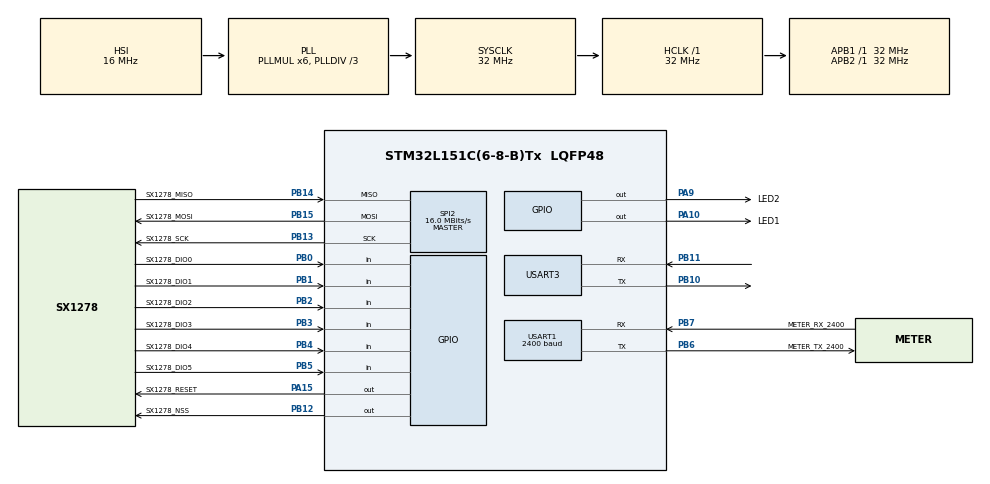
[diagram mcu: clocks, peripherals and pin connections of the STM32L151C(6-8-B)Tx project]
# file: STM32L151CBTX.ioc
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Dma.Request0=USART1_RX
Dma.Request1=USART3_RX
Dma.USART1_RX.0.Direction=DMA_PERIPH_TO_MEMORY
Dma.USART1_RX.0.Instance=DMA1_Channel5
Dma.USART1_RX.0.MemDataAlignment=DMA_MDATAALIGN_BYTE
Dma.USART1_RX.0.MemInc=DMA_MINC_ENABLE
Dma.USART1_RX.0.Mode=DMA_NORMAL
Dma.USART1_RX.0.PeriphDataAlignment=DMA_PDATAALIGN_BYTE
Dma.USART1_RX.0.PeriphInc=DMA_PINC_DISABLE
Dma.USART1_RX.0.Priority=DMA_PRIORITY_LOW
Dma.USART3_RX.1.Direction=DMA_PERIPH_TO_MEMORY
Dma.USART3_RX.1.Instance=DMA1_Channel3
Dma.USART3_RX.1.MemDataAlignment=DMA_MDATAALIGN_BYTE
Dma.USART3_RX.1.MemInc=DMA_MINC_ENABLE
Dma.USART3_RX.1.Mode=DMA_NORMAL
Dma.USART3_RX.1.PeriphDataAlignment=DMA_PDATAALIGN_BYTE
Dma.USART3_RX.1.PeriphInc=DMA_PINC_DISABLE
Dma.USART3_RX.1.Priority=DMA_PRIORITY_LOW
Mcu.Family=STM32L1
Mcu.Name=STM32L151C(6-8-B)Tx
Mcu.Package=LQFP48
NVIC.DMA1_Channel3_IRQn=true\:6\:0\:true\:false\:true
NVIC.DMA1_Channel5_IRQn=true\:5\:0\:true\:false\:true
NVIC.PriorityGroup=NVIC_PRIORITYGROUP_4
NVIC.USART1_IRQn=true\:8\:0\:true\:false\:true
NVIC.USART3_IRQn=true\:7\:0\:true\:false\:true
PA10.GPIO_Label=LED1
PA10.GPIO_PuPd=GPIO_PULLDOWN
PA10.Signal=GPIO_Output
PA13.Mode=Serial_Wire
PA13.Signal=SYS_JTMS-SWDIO
PA14.Mode=Serial_Wire
PA14.Signal=SYS_JTCK-SWCLK
PA15.GPIO_Label=SX1278_RESET
PA15.GPIO_PuPd=GPIO_PULLUP
PA15.PinState=GPIO_PIN_SET
PA15.Signal=GPIO_Output
PA9.GPIO_Label=LED2
PA9.GPIO_PuPd=GPIO_PULLDOWN
PA9.Signal=GPIO_Output
PB0.GPIO_Label=SX1278_DIO0
PB0.GPIO_PuPd=GPIO_PULLDOWN
PB0.Signal=GPIO_Input
PB1.GPIO_Label=SX1278_DIO1
PB1.GPIO_PuPd=GPIO_PULLDOWN
PB1.Signal=GPIO_Input
PB10.Mode=Asynchronous
PB10.Signal=USART3_TX
PB11.Mode=Asynchronous
PB11.Signal=USART3_RX
PB12.GPIO_Label=SX1278_NSS
PB12.GPIO_PuPd=GPIO_PULLUP
PB12.PinState=GPIO_PIN_SET
PB12.Signal=GPIO_Output
PB13.GPIO_Label=SX1278_SCK
PB13.Mode=Full_Duplex_Master
PB13.Signal=SPI2_SCK
PB14.GPIO_Label=SX1278_MISO
PB14.Mode=Full_Duplex_Master
PB14.Signal=SPI2_MISO
PB15.GPIO_Label=SX1278_MOSI
PB15.Mode=Full_Duplex_Master
PB15.Signal=SPI2_MOSI
PB2.GPIO_Label=SX1278_DIO2
PB2.GPIO_PuPd=GPIO_PULLDOWN
PB2.Signal=GPIO_Input
PB3.GPIO_Label=SX1278_DIO3
PB3.GPIO_PuPd=GPIO_PULLDOWN
PB3.Signal=GPIO_Input
PB4.GPIO_Label=SX1278_DIO4
PB4.GPIO_PuPd=GPIO_PULLDOWN
PB4.Signal=GPIO_Input
PB5.GPIO_Label=SX1278_DIO5
PB5.GPIO_PuPd=GPIO_PULLDOWN
PB5.Signal=GPIO_Input
PB6.GPIO_Label=METER_TX_2400
PB6.Mode=Asynchronous
PB6.Signal=USART1_TX
PB7.GPIO_Label=METER_RX_2400
PB7.Mode=Asynchronous
PB7.Signal=USART1_RX
PC14-OSC32_IN.Mode=LSE-External-Oscillator
PC14-OSC32_IN.Signal=RCC_OSC32_IN
PC15-OSC32_OUT.Mode=LSE-External-Oscillator
PC15-OSC32_OUT.Signal=RCC_OSC32_OUT
ProjectManager.HeapSize=0x200
ProjectManager.StackSize=0x400
ProjectManager.TargetToolchain=MDK-ARM V5
RCC.AHBFreq_Value=32000000
RCC.APB1Freq_Value=32000000
RCC.APB1TimFreq_Value=32000000
RCC.APB2Freq_Value=32000000
RCC.APB2TimFreq_Value=32000000
RCC.HCLKFreq_Value=32000000
RCC.HSE_VALUE=8000000
RCC.HSI_VALUE=16000000
RCC.MSI_VALUE=2097000
RCC.PLLDIV=RCC_PLL_DIV3
RCC.PLLMUL=RCC_PLL_MUL6
RCC.RTCClockSelectionVirtual=RCC_RTCCLKSOURCE_LSE
RCC.SYSCLKFreq_VALUE=32000000
RCC.SYSCLKSource=RCC_SYSCLKSOURCE_PLLCLK
RCC.USBOutput=48000000
RCC.VCOOutputFreq_Value=96000000
RTC.Date=3
RTC.Hours=17
RTC.Minutes=20
RTC.Month=RTC_MONTH_NOVEMBER
RTC.Seconds=12
RTC.WakeUpClock-WakeUp=RTC_WAKEUPCLOCK_CK_SPRE_16BITS
RTC.Year=17
SPI2.BaudRatePrescaler=SPI_BAUDRATEPRESCALER_2
SPI2.CalculateBaudRate=16.0 MBits/s
SPI2.Mode=SPI_MODE_MASTER
USART1.BaudRate=2400
USART1.Parity=PARITY_EVEN
USART1.WordLength=UART_WORDLENGTH_9B
VP_RTC_VS_RTC_Activate.Mode=RTC_Enabled
VP_RTC_VS_RTC_Calendar.Mode=RTC_Calendar
VP_RTC_VS_RTC_WakeUp_intern.Mode=WakeUp
board=STM32L151CBTX

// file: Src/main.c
/**
  ******************************************************************************
  * File Name          : main.c
  * Description        : Main program body
  ******************************************************************************
  *
  * COPYRIGHT(c) 2018 STMicroelectronics
  *
  * Redistribution and use in source and binary forms, with or without modification,
  * are permitted provided that the following conditions are met:
  *   1. Redistributions of source code must retain the above copyright notice,
  *      this list of conditions and the following disclaimer.
  *   2. Redistributions in binary form must reproduce the above copyright notice,
  *      this list of conditions and the following disclaimer in the documentation
  *      and/or other materials provided with the distribution.
  *   3. Neither the name of STMicroelectronics nor the names of its contributors
  *      may be used to endorse or promote products derived from this software
  *      without specific prior written permission.
  *
  * THIS SOFTWARE IS PROVIDED BY THE COPYRIGHT HOLDERS AND CONTRIBUTORS "AS IS"
  * AND ANY EXPRESS OR IMPLIED WARRANTIES, INCLUDING, BUT NOT LIMITED TO, THE
  * IMPLIED WARRANTIES OF MERCHANTABILITY AND FITNESS FOR A PARTICULAR PURPOSE ARE
  * DISCLAIMED. IN NO EVENT SHALL THE COPYRIGHT HOLDER OR CONTRIBUTORS BE LIABLE
  * FOR ANY DIRECT, INDIRECT, INCIDENTAL, SPECIAL, EXEMPLARY, OR CONSEQUENTIAL
  * DAMAGES (INCLUDING, BUT NOT LIMITED TO, PROCUREMENT OF SUBSTITUTE GOODS OR
  * SERVICES; LOSS OF USE, DATA, OR PROFITS; OR BUSINESS INTERRUPTION) HOWEVER
  * CAUSED AND ON ANY THEORY OF LIABILITY, WHETHER IN CONTRACT, STRICT LIABILITY,
  * OR TORT (INCLUDING NEGLIGENCE OR OTHERWISE) ARISING IN ANY WAY OUT OF THE USE
  * OF THIS SOFTWARE, EVEN IF ADVISED OF THE POSSIBILITY OF SUCH DAMAGE.
  *
  ******************************************************************************
  */
#include "stm32l1xx_hal.h"
#include "dma.h"
#include "rtc.h"
#include "spi.h"
#include "usart.h"
#include "gpio.h"

/* USER CODE BEGIN Includes */
#include <stdio.h>
#include <stdlib.h>
#include "stm32l1xx_hal_rtc.h"
#include "sx1276-Hal.h"
#include "sx1276.h"
#include "sx1276-LoRa.h"
#include "sx1276-LoRaMisc.h"
#include "stm32l1xx_lp_modes.h"
#include "dlt645.h"
#include "cj188.h"
#include "main.h"
/*
一、  Neruogrid-Class-LORA 协议：
1、     网络ID   网络ID   设备ID   设备ID   RX窗口   前导码    心跳周期  采集周期 数据帧开始码 数据帧开始码 数据帧长度  数据
symb:	NwkID[0] NwkID[1] DevID[0] DevID[1] DevRxGap  PrebSymb  Heartbeat  Collect  Sync1(0xa5)  Sync2(0x5a)  DATA_LEN    DATA
      	 |        |         |         |         |      |          |          |           |         |           |         |
      	 |        |         |         |         |      |          |          |           |         |           | 	       |
byte:    0        1         2         3         4    5 - 6      7 - 8      9 - 10   	  11         12         13       14 - N

2       Neruogrid-Class-LORA支持如下两种模式：
		Ø  Neruogrid-ClassA-LORA   超低功耗模式，模块只在心跳时发送、接收信号，其余时间处于休眠模式
		Ø  Neruogrid-ClassC-LORA   低功耗模式，模块周期性监听无线信号，收到信号自动唤醒
		Ø 水表、气表、热量表LORA模块工作在 Neruogrid-ClassA-LORA 模式
		Ø 电表LORA模块工作在 Neruogrid-ClassC-LORA 模式

3、LORA模块通讯参数：
        中心频率：  434Mhz
        扩频因子：  1024
        带    宽：  250Khz
        纠 错 码：  4/5
        CRC校验：   有
        报   头：   显式

二、功耗设计
1、水表、气表、热量表LORA模块需要与表具安装在一起或外挂方式，采用 Neruogrid-ClassA-LORA 超低功耗协议，休眠周期默认为24小时。
    Neruogrid-ClassA-LORA工作模式如下：
                __                               __   ____
      _________|  |__|__|_______________________|  |_|    |________________

              呼吸|gap1|gap2     睡眠           呼吸 gap1收到网关命令

2、电表LORA模块安装在表箱或电表内部，模块支持220V供电，采用 Neruogrid-ClassC-LORA 低功耗呼吸监听协议。

    Neruogrid-ClassC-LORA工作模式如下：
		            __ 	                  __ 	         __
      _________|  |__________________|  |_________|  |________

       睡眠   接收网关命令  睡眠    接收网关命令

三、水、电、气、热表具类型以及通讯地址处理

1、LORA模块与水表、气表、热量表一对一连接，通过广播地址进行通讯。

2、LORA模块与电表一对多连接，LORA模块按网关命令所指地址与电表进行通讯。

3、LORA模块通过硬件码序选择通讯协议，编码如下：
	         PIN0 PIN1      协议
     水表   0    0       CJ188
     气表   0    1       CJ188
     热表   1    0       CJ188
     电表   1    1       DLT645

四、 Neruogrid-Class-LORA 网关工作模式

1、 Neruogrid-ClassA-LORA模式：
    网关无发送任务时，进入RXcontinue模式，监听水表、气表、热量表LORA模块的心跳，当收到心跳后，接收LORA模块计量数据，当有主动采集任务时，按照Neruogrid-ClassA-LORA规范，下发采集命令。
    网关工作模式如下：
				                __                 __  __
      _________|_______|  |_______|_______|  ||  |____

              监听   接收到数据         接收到数据\下发采集命令

2、Neruogrid-ClassC-LORA模式：
      网关判断采集策略，向LORO模块发送采集命令，LORA模块在监听模式下收到网关采集命令，按照网关命令中的电表通讯地址采集电表数据，并将数据返回网关。
    网关工作模式如下：
	              __ 	                  __ 	         __
      _________|  |__________________|  |_________|  |________

            发送采集命令          发送采集命令

五、使用说明

1、节点工作模式：

LoRaClassType = LoRaClassA  ：节点工作在超低功耗模式A，节点只会在设定的心跳周期内唤醒，采集数据发送给网关后，进行休眠，在休眠期间不能接收任何外部信号

LoRaClassType = LoRaClassC  ：节点工作在低功耗模式C，节点每隔4秒钟，自动苏醒一次，监测外部信号，如果有匹配的信号，则接收数据。

2、节点串口波特率：

节点对外的串口，默认波特率为 2400 偶校验

3、节点类型选择：METER_TYPE

节点类型：水电气热。可以通过软件设置,模块根据对应的节点类型，自动判断抄表协议

LoRaDevice.type = ELECTOR_METER    电表类型、DLT645-2007协议

LoRaDevice.type = WATER_METER      水表类型、CL188协议

LoRaDevice.type = HEART_METER      热量表类型、CL188协议

LoRaDevice.type = GAS_METER        燃气表类型、CL188协议

六、STM32L151CB 硬件资源

		SPI1  ---  SX1278
		UART1 ---  METER     2400 E 8 1

*/

/* USER CODE END Includes */

/* USER CODE BEGIN PV */
/* Private variables ---------------------------------------------------------*/
#define ST_LINK_DEBUG_ENABLE 1
#define SECOND    1
#define MINITE   (60*SECOND)
#define HOURE    (60*MINITE)

#if(JOHN_DEBUG)
#define SYSTEM_SLEEP_TIME       (20*SECOND) //调试时：30秒
#else
#define SYSTEM_SLEEP_TIME       (20*HOURE)  //正常运行默认：24小时  单位秒：65535秒 = 21小时
#endif

#define DEVICE_RESPONSE_TIMEOUT 1000     //设备反馈超时时间

//  协议类型
#define LoRaClassA 1
#define LoRaClassC 3
#define LoRaClassType  LoRaClassA

//  表计类型
#define  ELECTOR_METER        0x40           //电表
#define  GAS_METER            0x30           //燃气表
#define  WATER_METER          0x10           //水表
#define  HEART_METER          0x20           //热量表
#define METER_TYPE ELECTOR_METER

/***************************************************************************************************************/
typedef struct
{
	uint8_t Sync1;            //配置帧开始标识    0xaa
	uint8_t Sync2;            //配置帧开始标识    0x55
	uint8_t type;             //配置帧类型        0x00:网络地址, 0x01:设备地址, 0x10:心跳周期, 0x11:采集周期
	uint8_t data0;            //配置帧数据位0
	uint8_t data1;            //配置帧数据位1
	uint8_t cs;               //配置帧校验位      Sync1 + Sync2 + type + data0 + data1 + cs
}s_Config_data;

typedef struct
{
	uint8_t NwkID[2];         //无线网络地址
	uint8_t DevID[2];         //无线节点地址
	uint8_t DevRxGap;         //接收串口间隔时间  1 byte	   单位：秒
	uint16_t PrebSymb;        //前导码            2 bytes
	uint16_t Heartbeat;       //心跳周期          2 bytes    单位：分钟
	uint16_t Collect;         //采集周期          2 bytes    单位：分钟 ，默认采集周期等于心跳周期
	uint8_t Sync1;            //数据帧开始标识    0xA5
	uint8_t Sync2;            //数据帧开始标识    0x5A
	uint8_t Dlen;             //用户数据长度
	uint8_t Buff[PAYLOAD_DATABUFF_SIZE];
}sPayLoadType;

enum LORA_frame
{
	NwkID_OFFSET = 0,
	DevID_OFFSET = 2,
	RXGAP_OFFSET = 4,
	PREAMB_OFFSET = 5,
	HEART_OFFSET = 7,
	COLLECT_OFFSET = 9,
	SYNC1_OFFSET = 11,
	SYNC2_OFFSET,
	DLEN_OFFSET,
	DATA_OFFSET,
};

uint8_t PayLoadBuff[PAYLOAD_MAX_SIZE];                                           //LORA数据buff

uint16_t PayLoadLen;

sPayLoadType *pRFPayLoad = (sPayLoadType *)PayLoadBuff;      //LORA数据buff指针

/***************************************************************************************************************/

enum t_ClassState
{
	sIDLE = 0,
	TXWindow1,
	TXWindow2,
	RXWindow1Gap,
	RXWindow1,
	RXWindow2Gap,
	RXWindow2
}LoRaProtocolState = sIDLE;

#define TXWindowTimeOut     10000                       // 发送超时时间
#define DEV_ID_LEN  10                                 // 设备通讯地址：ID长度
typedef struct                                         //表具数据帧
{
	uint8_t type;               //设备类型
  uint8_t id[DEV_ID_LEN];
  uint8_t NwkID[2];         //无线网络地址
	uint8_t DevID[2];         //无线节点地址
	uint8_t DevRxGap;         //接收串口间隔时间  1 byte	   单位：秒
	uint16_t PrebSymb;        //前导码            2 bytes
	uint16_t Heartbeat;       //心跳周期          2 bytes    单位：分钟
	uint16_t Collect;         //采集周期          2 bytes    单位：分钟 ，默认采集周期等于心跳周期
}t_LoRaDevice;

t_LoRaDevice LoRaDevice;                              //表具数据帧

tRFProcessReturnCodes RfResult;

USART_RECEIVETYPE UsartType;

typedef enum
{
	SX1278_RX = 0,
	SX1278_TX,
	SX1278_IDLE,
	SX1278_SLEEP,
}t_LoraFlag;
t_LoraFlag Lora_flag;          /*  LORA state:	SX1278_RX 	SX1278_TX 	SX1278_IDLE 	SX1278_SLEEP,   */

uint32_t SystemTick;

const uint8_t NetAddr[2] = {'L','O'};

const uint8_t NodeAddr[2] = {'R','A'};

uint8_t	RecvGatewayCmd = 0;                 //节点心跳后收到网关数据

uint32_t RecvGatewayCmdTimeOut;             //收到网关数据并转发给设备，等待设备反馈时间

/* USER CODE END PV */

void SystemClock_Config(void);
void Error_Handler(void);

/* USER CODE BEGIN PFP */
/* Private function prototypes -----------------------------------------------*/

/* USER CODE END PFP */

/* USER CODE BEGIN 0 */

void HAL_SYSTICK_Callback(void)
{
	SystemTick++;
}

void SysTick_Init()
{
	int i;
  SystemTick = i;             //获取随机变量值
  Debug("\r\nSysTick_Init SystemTick:%d!",SystemTick);
}

void UartPayLoadInit(void)
{
	memset( &UsartType, 0, sizeof(USART_RECEIVETYPE) );
}

void LoRaPayLoadInit(void)
{
	pRFPayLoad->NwkID[0] = 'L';
	pRFPayLoad->NwkID[1] = 'O';
	pRFPayLoad->DevID[0] = 'R';
	pRFPayLoad->DevID[1] = 'A';

	pRFPayLoad->DevRxGap = 5;
	pRFPayLoad->PrebSymb = Preamble_Default;	       //默认为 8

	if(LoRaClassType == LoRaClassC) //电表采用监控呼吸模块：ClassC
		{
			pRFPayLoad->Heartbeat = LORA_SLEEP_TIME/1000;      //默认12小时发送一次心跳，在心跳中发送采集的数据
			pRFPayLoad->Collect = 0;        //默认12小时采集一次数据，默认采集周期等于心跳周期
		}
	else
		{
			pRFPayLoad->Heartbeat = SYSTEM_SLEEP_TIME;      //默认12小时发送一次心跳，在心跳中发送采集的数据
			pRFPayLoad->Collect = SYSTEM_SLEEP_TIME;        //默认12小时采集一次数据，默认采集周期等于心跳周期
		}
	pRFPayLoad->Sync1 = 0xA5;                        //数据帧开始标识    0xA5
	pRFPayLoad->Sync2 = 0x5A;                        //数据帧开始标识    0x5A
	pRFPayLoad->Dlen = 0;                            //初始化用户数据长度 = 0

}

static void SetIoSleep( void )
{
//	GPIO_InitTypeDef GPIO_InitStruct;
//
//	HAL_SPI_MspDeInit(&hspi2);
//	HAL_UART_MspDeInit(&huart3);
//	HAL_UART_MspDeInit(&huart1);
//
///* set SPI2\USART3\USART1 IO as pull low input
//    PB10     ------> USART3_TX
//    PB11     ------> USART3_RX
//    PB6     ------> USART1_TX
//    PB7     ------> USART1_RX
//    */
//	  GPIO_InitStruct.Pin = SX1278_SCK_Pin|SX1278_MISO_Pin|SX1278_MOSI_Pin;
//    GPIO_InitStruct.Mode = GPIO_MODE_INPUT;
//    GPIO_InitStruct.Pull = GPIO_PULLDOWN;
//    HAL_GPIO_Init(GPIOB, &GPIO_InitStruct);
//
//	  GPIO_InitStruct.Pin = GPIO_PIN_6|GPIO_PIN_7|GPIO_PIN_10|GPIO_PIN_11;
//    GPIO_InitStruct.Mode = GPIO_MODE_INPUT;
//    GPIO_InitStruct.Pull = GPIO_PULLDOWN;
//    HAL_GPIO_Init(GPIOB, &GPIO_InitStruct);

//#undef ST_LINK_DEBUG_ENABLE
#if( ST_LINK_DEBUG_ENABLE )
				HAL_DBGMCU_EnableDBGSleepMode();
				HAL_DBGMCU_EnableDBGStopMode();
				HAL_DBGMCU_EnableDBGStandbyMode();
#else
				HAL_DBGMCU_DisableDBGSleepMode();
				HAL_DBGMCU_DisableDBGSleepMode();
				HAL_DBGMCU_DisableDBGSleepMode();
#endif
		BSP_LED_Off(LED1);
		BSP_LED_Off(LED2);
}

static void LoRaDeviceInit(void)
{
	int i = 0;

	memset(&LoRaDevice,0,sizeof(t_LoRaDevice));

	LoRaDevice.type = METER_TYPE;
	for(i=0;i<DEV_ID_LEN;i++)        //默认广播地址0xAA
		LoRaDevice.id[i] = 0xAA;

	LoRaDevice.NwkID[0] = 'L';
	LoRaDevice.NwkID[1] = 'O';
	LoRaDevice.DevID[0] = 'R';
	LoRaDevice.DevID[1] = 'A';

	LoRaDevice.DevRxGap = 5;
	LoRaDevice.PrebSymb = Preamble_Default;
	if(LoRaClassType == LoRaClassC) //电表采用监控呼吸模块：ClassC
		{
			LoRaDevice.Heartbeat = LORA_SLEEP_TIME/1000;      //默认12小时发送一次心跳，在心跳中发送采集的数据
			LoRaDevice.Collect = 0;        //默认12小时采集一次数据，默认采集周期等于心跳周期
		}
	else
		{
			LoRaDevice.Heartbeat = SYSTEM_SLEEP_TIME;      //默认12小时发送一次心跳，在心跳中发送采集的数据
			LoRaDevice.Collect = SYSTEM_SLEEP_TIME;        //默认12小时采集一次数据，默认采集周期等于心跳周期
		}
}

void SystemReInit(void)
{
	MX_SPI2_Init();
  MX_USART3_UART_Init();
  MX_USART1_UART_Init();
	SPI_Enable(&hspi2);
	Debug("=>SleepMode!\r\nPress WAKE_UP button to wake up ...\r\n");
	UartReceive_DMA();
}

void SetLoRaSleep(void)
{
	SX1276LoRaSetRFState(RFLR_STATE_IDLE);               /*RFState ?????*/
	SX1276LoRaSetOpMode(RFLR_OPMODE_SLEEP);                  /*????*/
	BSP_LED_Off(LED1);
	Lora_flag = SX1278_SLEEP;
	RFDebug("\r\n SetLoRaSleep:%d\r\n",GET_TICK_COUNT( ));
}

void SetLoRaRx(void)
{
	SX1276LoRaSetRFState( RFLR_STATE_RX_INIT );
	BSP_LED_On(LED1);
	Lora_flag = SX1278_RX;
	RFDebug("\r\n SetLoRaRx:%d\r\n",GET_TICK_COUNT( ));
}

void SetLoRaTx(void)
{
	SX1276LoRaSetRFState( RFLR_STATE_TX_INIT );
	BSP_LED_On(LED1);
	Lora_flag = SX1278_TX;
  Debug("\r\n SetLoRaTx:%d\r\n",GET_TICK_COUNT( ));
}

static void SystemSleep(int second)
{
	SetLoRaSleep();
	SetIoSleep();
  StopMode_Measure(second);
	BSP_LED_On(LED1);
	BSP_LED_On(LED2);
}

int LoRaNodeCollectData(uint8_t *data)
{
  if(LoRaDevice.type == ELECTOR_METER)
    return dlt645_collect_meter(LoRaDevice.id,data,ENERGY_FORWARDA);	 //默认只采集正向有功总电能

	else if(LoRaDevice.type == WATER_METER || LoRaDevice.type == GAS_METER || LoRaDevice.type == HEART_METER)
		return cj188_collect_meter(LoRaDevice.id,data,LoRaDevice.type);

	else
		return 0;
}

void SetLoRaCommPram(void)
{
	uint8_t len;
  if(LoRaClassType == LoRaClassC)              //监控呼吸ClassC 下不需要更改通讯参数
	{
			LoRaPayLoadInit();
			return;
	}
	len = 2 + GET_TICK_COUNT( ) % 4;
  Debug("\r\n len = %d",len);
	LoRaDevice.DevRxGap = len;                                              //随机设置接收窗口窗口时间  [0~6]
	LoRaDevice.PrebSymb = GetPreambSymbols(2*LORA_BREATH_TIME + LoRaDevice.DevRxGap*1000); //节点对应的前导码,网关发送前导码必须与此值一致才能与此节点通讯
	LoRaDevice.Heartbeat = LoRaDevice.Heartbeat;

	Debug("\r\nNode LoRaDevice.Heartbeat=%d,RxGap=%2ds,PreambleSymbols=%2d",LoRaDevice.Heartbeat,LoRaDevice.DevRxGap,LoRaDevice.PrebSymb);

	PayLoadBuff[RXGAP_OFFSET] = LoRaDevice.DevRxGap - 1;                  //节点接收窗口,网关在LoRaDevice.DevRxGap提前1s发送前导码

  PayLoadBuff[PREAMB_OFFSET] = (LoRaDevice.PrebSymb >> 8) & 0x00FF;  //节点本次接收窗口前导码
	PayLoadBuff[PREAMB_OFFSET + 1] = LoRaDevice.PrebSymb & 0xFF;

  PayLoadBuff[HEART_OFFSET] = (LoRaDevice.Heartbeat >> 8) & 0x00FF;  //节点心跳周期
	PayLoadBuff[HEART_OFFSET + 1] = LoRaDevice.Heartbeat & 0xFF;

  PayLoadBuff[COLLECT_OFFSET] = (LoRaDevice.Collect >> 8) & 0x00FF;  //节点采集周期
	PayLoadBuff[COLLECT_OFFSET + 1] = LoRaDevice.Collect & 0xFF;
}

void LoRaNodeHeartBreath(void)
{
	uint8_t data[256] = {'\0'};
  uint8_t nbyte;
  SetLoRaCommPram();                             //LORA通讯参数初始化
  nbyte = LoRaNodeCollectData(data);             //采集数据
  HAL_UART_Transmit(&huart1,data, nbyte, 0xFFFF);
  HAL_Delay(2000);                                //波特率为2400时，传输256个字节时长为1秒
  pRFPayLoad->Dlen = 0;
	if(UsartType.RX_flag == 1)    	//  串口接收
		{
        UsartType.RX_flag=0;	// clean flag
				if(UsartType.RX_Size >= PAYLOAD_DATABUFF_SIZE)
					UsartType.RX_Size = PAYLOAD_DATABUFF_SIZE;

				pRFPayLoad->Dlen = UsartType.RX_Size;
				memcpy(pRFPayLoad->Buff,UsartType.RX_pData,pRFPayLoad->Dlen);                      //获取串口数据
    }
  PayLoadLen = (DATA_OFFSET + 1 + pRFPayLoad->Dlen);
  SX1276LoRaSetTxPacket( PayLoadBuff, PayLoadLen);     //将串口数据按照LORA帧格式组装，并发送出去!
	SetLoRaTx();

	Debug("\r\n=>%d Data to rf:",PayLoadLen);
	for(int i=0;i<PayLoadLen;i++)
		Debug("0x%2x ",PayLoadBuff[i]);

	LoRaProtocolState = TXWindow1;             //设置发送状态
}

void gateway_process(void)             //收到网关命令
{

  Debug("\r\n=>Reciver Host %d Data to LoRaDevice:\r\n",PayLoadLen);
  HAL_UART_Transmit(&huart1,PayLoadBuff, PayLoadLen, 0xFFFF);
  RecvGatewayCmd = 1;
  RecvGatewayCmdTimeOut = GET_TICK_COUNT( );
}

/*******************************************************************************************
1、节点心跳，每隔Breath_time,自动唤醒上传一次数据
2、上行数据发送完成后，紧跟2个接收窗口，完成接收操作后再次进入休眠
3、在第一个接收窗口收到数据，直接进入休眠，忽略后一个接收窗口
4、网关必须一致处于接收监听状态，并在收到节点上行数据后，在确定的时间窗口发送下行数据
*******************************************************************************************/

void lora_protocol_process(void)
{
	static uint32_t delay = 0;
	switch (LoRaProtocolState)
	{
		case TXWindow1:
			LoRaProtocolState = TXWindow2;
			delay = GET_TICK_COUNT( );
			break;
		case TXWindow2:
			if(RfResult == RF_TX_DONE)
			{
				LoRaProtocolState = RXWindow1Gap;
				Debug("\r\nRF_TX_DONE goto RXWindow1Gap ");
			}
			else
			{
				if((GET_TICK_COUNT( ) - delay) > TXWindowTimeOut)   //发送失败
				{
					SX1276LoRaSetPreambleLength(Preamble_Default);      // 恢复 前导码为默认值：8
					Debug("\r\nRF_RX_DONE goto sIDLE ");
					LoRaProtocolState = sIDLE;
				  SetLoRaSleep();
				}
			}
			break;
		case RXWindow1Gap:
				Debug("\r\nRXWindow1Gap sleep");
				SystemSleep(LoRaDevice.DevRxGap);
				Debug("\r\n%ds Wakeup!",LoRaDevice.DevRxGap);
				SX1276LoRaSetPreambleLength(LoRaDevice.PrebSymb);                //设置接收时的前导码长度
        printf("\r\nSet PreambleLength = %d",LoRaDevice.PrebSymb);

				SetLoRaRx();
				LoRaProtocolState = RXWindow1;
			break;
		case RXWindow1:
			if(RfResult == RF_RX_DONE)
			{
				gateway_process();
				SX1276LoRaSetPreambleLength(Preamble_Default);      //第一个接收窗口收到 数据后：恢复 前导码为默认值：8
        printf("\r\nResove PreambleLength = %d",Preamble_Default);
				LoRaProtocolState = sIDLE;
				SetLoRaSleep();
			}
			if(RfResult == RF_RX_TIMEOUT)
			{
				LoRaProtocolState = RXWindow2Gap;
			}
			break;
		case RXWindow2Gap:
			Debug("\r\nRXWindow2Gap sleep!");
			SystemSleep(LoRaDevice.DevRxGap);
			Debug("\r\n%ds Wakeup!",LoRaDevice.DevRxGap);

			SetLoRaRx();
			LoRaProtocolState = RXWindow2;
			break;
		case RXWindow2:
			if(RfResult == RF_RX_DONE)
			{
				gateway_process();
				SX1276LoRaSetPreambleLength(Preamble_Default);      //第二个接收窗口收到数据后  恢复 前导码为默认值：8
        printf("\r\nResove PreambleLength = %d",Preamble_Default);
				SetLoRaSleep();
				LoRaProtocolState = sIDLE;
				Debug("\r\nRF_RX_DONE goto sIDLE ");
			}
			if(RfResult == RF_RX_TIMEOUT)
			{
				SX1276LoRaSetPreambleLength(Preamble_Default);      //第二个接收窗口没有收到数据 恢复 前导码为默认值：8
        printf("\r\nResove PreambleLength = %d",Preamble_Default);
				SetLoRaSleep();
				LoRaProtocolState = sIDLE;
				Debug("\r\nRF_RX_TIMEOUT goto sIDLE ");
			}
			break;
		case sIDLE:
			break;
		default:
			break;
	}
}

//输入流不超过251个字节，超过251字节自动截流，输入流间隔1S自动打包成一个数据流
void uart_Process(void)
{
//	if(LoRaProtocolState == sIDLE)
//	{
		if(UsartType.RX_flag == 1)    	// UART --> RF
			{
				if(LoRaProtocolState != sIDLE)
					return;

				SetLoRaCommPram();                             //LORA通讯参数初始化
				UsartType.RX_flag=0;	// clean flag
				if(UsartType.RX_Size >= PAYLOAD_DATABUFF_SIZE)
					UsartType.RX_Size = PAYLOAD_DATABUFF_SIZE;

				pRFPayLoad->Dlen = UsartType.RX_Size;
				memcpy(pRFPayLoad->Buff,UsartType.RX_pData,pRFPayLoad->Dlen);                      //获取串口数据

				PayLoadLen = (DATA_OFFSET + 1 + pRFPayLoad->Dlen);
				SX1276LoRaSetTxPacket( PayLoadBuff, PayLoadLen);     //将串口数据按照LORA帧格式组装，并发送出去！
				SetLoRaTx();

				Debug("\r\n=>%d Data to rf:",PayLoadLen);
				for(int i=0;i<PayLoadLen;i++)
					Debug("0x%2x ",PayLoadBuff[i]);

				LoRaProtocolState = TXWindow1;             //设置发送状态
			}
		if(UsartType.TX_flag == 1)    	//  RF --> UART
		{
			UsartType.TX_flag = 0;
			if(PayLoadLen > DATA_OFFSET)
				UsartType.TX_Size = PayLoadLen - DATA_OFFSET;
			else
				UsartType.TX_Size = PayLoadLen;
			memcpy(UsartType.TX_pData,pRFPayLoad->Buff,UsartType.TX_Size);
			Debug("\r\n=>%d Data from rf:",UsartType.TX_Size);
				for(int i=0;i<UsartType.TX_Size;i++)
					Debug("0x%2x ",pRFPayLoad->Buff[i]);
			HAL_UART_Transmit(&huart1, UsartType.TX_pData, UsartType.TX_Size, 0xFFFF);
		}
//	}
}

void lora_process(void)
{
		RfResult = SX1276LoRaProcess();
		switch(RfResult)
			{
				case RF_TX_DONE:
					BSP_LED_Off(LED1);
					SetLoRaSleep();
					break;
				case RF_RX_DONE:
					SX1276LoRaGetRxPacket(PayLoadBuff, &PayLoadLen );
				  BSP_LED_Off(LED1);
					SetLoRaSleep();
					break;
				case RF_RX_TIMEOUT:
					BSP_LED_Off(LED1);
					SetLoRaSleep();
					break;
				default:
					break;
			}
}

void system_Status_process(void)
{
	if(RecvGatewayCmd == 1)
	{
		if((GET_TICK_COUNT( ) - RecvGatewayCmdTimeOut) > DEVICE_RESPONSE_TIMEOUT)   //设备超时无反馈
		{
			RecvGatewayCmd = 0;
		}
	}
	else if(RfResult == RF_RX_DONE)
	{
		if(sIDLE == LoRaProtocolState)
		{
			UsartType.TX_flag = 1;
		}
	}

	if(Lora_flag == SX1278_SLEEP && LoRaProtocolState == sIDLE && UsartType.RX_flag == 0 && UsartType.TX_flag == 0 &&	RecvGatewayCmd == 0)
	{
		Debug("\r\nSystem Goto Sleep,after %ds Wake up",LoRaDevice.Heartbeat);
		SystemSleep(LoRaDevice.Heartbeat);
		Debug("\r\nSystem Wake up!");

    LoRaNodeHeartBreath();                            //苏醒后进入心跳
	}

}

void system_Status_ClassA_process(void)
{
	if(RfResult == RF_RX_DONE)
	{
			UsartType.TX_flag = 1;
	}

	if(Lora_flag == SX1278_SLEEP && LoRaProtocolState == sIDLE && UsartType.RX_flag == 0 && UsartType.TX_flag == 0)
	{
		Debug("\r\nSystem Goto Sleep,after %ds Wake up",LoRaDevice.Heartbeat);
		SystemSleep(LoRaDevice.Heartbeat);
		Debug("\r\nSystem Wake up!");
    SetLoRaRx();
	}
  LoRaProtocolState = sIDLE;
}

void LoRaSystemInit(void)
{
	UartPayLoadInit();
	LoRaPayLoadInit();
	UartReceive_DMA();
  LoRaDeviceInit();
}

void test(void)
{

	RTC_TimeTypeDef stime;
	Debug("\r\n testing!!!!");
  HAL_Delay(10000);
	while(1)
	{
    HAL_RTC_GetTime(&hrtc, &stime, RTC_FORMAT_BIN);
	  Debug("\r\n stime.Hours:%d stime.Minutes:%d stime.Seconds:%d",stime.Hours,stime.Minutes,stime.Seconds);
		Debug("\r\n---------------- sleep !");
		BSP_LED_Off(LED1);
		SystemSleep(10);
		Debug("\r\nwake up from RTC !");
		BSP_LED_On(LED1);
	}
}

/* USER CODE END 0 */

int main(void)
{

  /* MCU Configuration----------------------------------------------------------*/

  /* Reset of all peripherals, Initializes the Flash interface and the Systick. */
  HAL_Init();

  /* Configure the system clock */
  SystemClock_Config();

  /* Initialize all configured peripherals */
  MX_GPIO_Init();
  MX_DMA_Init();
  MX_RTC_Init();
  MX_SPI2_Init();
  MX_USART3_UART_Init();
  MX_USART1_UART_Init();

  /* USER CODE BEGIN 2 */
	SX1276Init();
	LoRaSystemInit();
	Debug("Node Running!\r\n");
  SetLoRaSleep();
	HAL_Delay(10000);

  /* USER CODE END 2 */

  /* Infinite loop */
  while (1)
  {

  /* USER CODE BEGIN 3 */

	//test();
	  if(LoRaClassType == LoRaClassC) //电表采用监控呼吸模块：ClassC
		{
			  lora_process();
				uart_Process();
        system_Status_ClassA_process();
		}
		else                 //其他采用监控呼吸模块：ClassC
		{
				lora_process();
				lora_protocol_process();
				uart_Process();
				system_Status_process();
		}
  }
  /* USER CODE END 3 */

}

/** System Clock Configuration
*/
void SystemClock_Config(void)
{

  RCC_OscInitTypeDef RCC_OscInitStruct;
  RCC_ClkInitTypeDef RCC_ClkInitStruct;
  RCC_PeriphCLKInitTypeDef PeriphClkInit;

    /**Configure the main internal regulator output voltage
    */
  __HAL_PWR_VOLTAGESCALING_CONFIG(PWR_REGULATOR_VOLTAGE_SCALE1);

    /**Initializes the CPU, AHB and APB busses clocks
    */
  RCC_OscInitStruct.OscillatorType = RCC_OSCILLATORTYPE_HSI|RCC_OSCILLATORTYPE_LSE;
  RCC_OscInitStruct.LSEState = RCC_LSE_ON;
  RCC_OscInitStruct.HSIState = RCC_HSI_ON;
  RCC_OscInitStruct.HSICalibrationValue = 16;
  RCC_OscInitStruct.PLL.PLLState = RCC_PLL_ON;
  RCC_OscInitStruct.PLL.PLLSource = RCC_PLLSOURCE_HSI;
  RCC_OscInitStruct.PLL.PLLMUL = RCC_PLL_MUL6;
  RCC_OscInitStruct.PLL.PLLDIV = RCC_PLL_DIV3;
  if (HAL_RCC_OscConfig(&RCC_OscInitStruct) != HAL_OK)
  {
    Error_Handler();
  }

    /**Initializes the CPU, AHB and APB busses clocks
    */
  RCC_ClkInitStruct.ClockType = RCC_CLOCKTYPE_HCLK|RCC_CLOCKTYPE_SYSCLK
                              |RCC_CLOCKTYPE_PCLK1|RCC_CLOCKTYPE_PCLK2;
  RCC_ClkInitStruct.SYSCLKSource = RCC_SYSCLKSOURCE_PLLCLK;
  RCC_ClkInitStruct.AHBCLKDivider = RCC_SYSCLK_DIV1;
  RCC_ClkInitStruct.APB1CLKDivider = RCC_HCLK_DIV1;
  RCC_ClkInitStruct.APB2CLKDivider = RCC_HCLK_DIV1;

  if (HAL_RCC_ClockConfig(&RCC_ClkInitStruct, FLASH_LATENCY_1) != HAL_OK)
  {
    Error_Handler();
  }

  PeriphClkInit.PeriphClockSelection = RCC_PERIPHCLK_RTC;
  PeriphClkInit.RTCClockSelection = RCC_RTCCLKSOURCE_LSE;
  if (HAL_RCCEx_PeriphCLKConfig(&PeriphClkInit) != HAL_OK)
  {
    Error_Handler();
  }

    /**Configure the Systick interrupt time
    */
  HAL_SYSTICK_Config(HAL_RCC_GetHCLKFreq()/1000);

    /**Configure the Systick
    */
  HAL_SYSTICK_CLKSourceConfig(SYSTICK_CLKSOURCE_HCLK);

  /* SysTick_IRQn interrupt configuration */
  HAL_NVIC_SetPriority(SysTick_IRQn, 9, 0);
}

void Error_Handler(void)
{
  while(1)
  {
  }
}

#ifdef USE_FULL_ASSERT

/**
   * @brief Reports the name of the source file and the source line number
   * where the assert_param error has occurred.
   * @param file: pointer to the source file name
   * @param line: assert_param error line source number
   * @retval None
   */
void assert_failed(uint8_t* file, uint32_t line)
{
  /* USER CODE BEGIN 6 */
  /* User can add his own implementation to report the file name and line number,
    ex: Debug("Wrong parameters value: file %s on line %d\r\n", file, line) */
  /* USER CODE END 6 */

}

#endif

/************************ (C) COPYRIGHT STMicroelectronics *****END OF FILE****/
